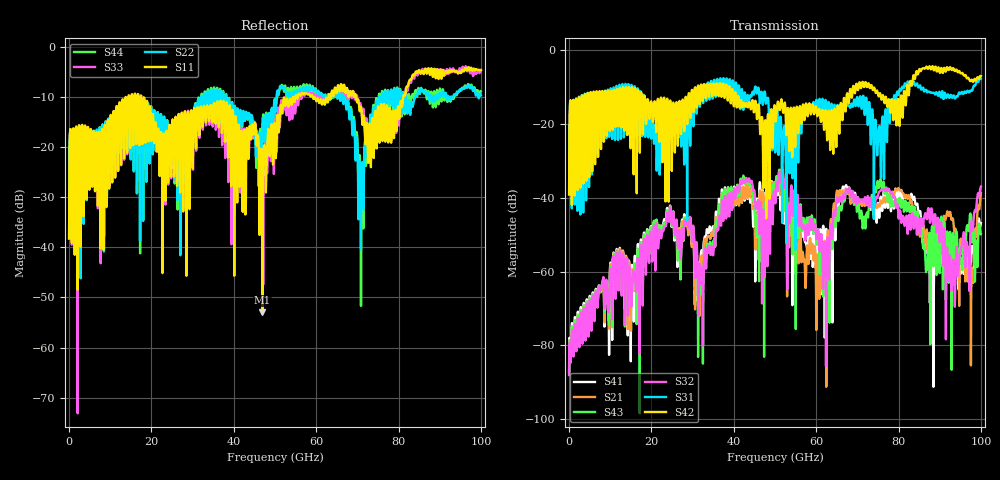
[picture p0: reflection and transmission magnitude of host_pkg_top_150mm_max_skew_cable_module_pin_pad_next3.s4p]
# Hz S RI R 50
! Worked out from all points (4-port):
!   10000 points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, 10 MHz to 100 GHz, reference 50 ohm
!   strongest paths, dB at 10 MHz, 25.01 GHz, 50.01 GHz, 75.01 GHz, 100 GHz:
!     S42: -39.1, -23.6, -16.0, -11.7, -6.9
!     S31: -39.0, -20.6, -22.9, -24.2, -7.7
!     S32: -88.0, -47.3, -39.4, -39.3, -36.9
!     S43: -87.6, -47.4, -36.1, -35.9, -49.8
!     S21: -87.5, -47.4, -36.9, -41.7, -38.7
!     S41: -87.1, -47.4, -35.9, -41.4, -46.8
!   lowest |S11| = -53.0 dB at 46.96 GHz (marker M1), VSWR 1.00, Z = 49.9 + j0.208 ohm
!   |S11| at or under -10 dB: start of sweep to 13.74 GHz; 17.54 GHz to 54.38 GHz (36.84 GHz wide, 102 % of centre); 69.7 GHz to 81.13 GHz (11.43 GHz wide, 15.2 % of centre)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
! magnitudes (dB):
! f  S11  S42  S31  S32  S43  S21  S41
! 10 MHz  -38.2  -39.1  -39.0  -88.0  -87.6  -87.5  -87.1
! 24.19 GHz  -19.4  -41.0  -19.0  -46.3  -45.8  -46.4  -45.8
! 46.96 GHz  -53.0  -19.8  -13.9  -48.0  -43.8  -38.7  -38.3
! 60.41 GHz  -10.3  -17.6  -16.4  -48.6  -48.5  -55.4  -50.8
! 77.34 GHz  -14.0  -15.0  -18.2  -38.2  -40.8  -40.6  -41.2
! 93.27 GHz  -4.8  -4.8  -12.3  -56.8  -49.5  -46.0  -53.3
! 100 GHz  -4.6  -6.9  -7.7  -36.9  -49.8  -38.7  -46.8
